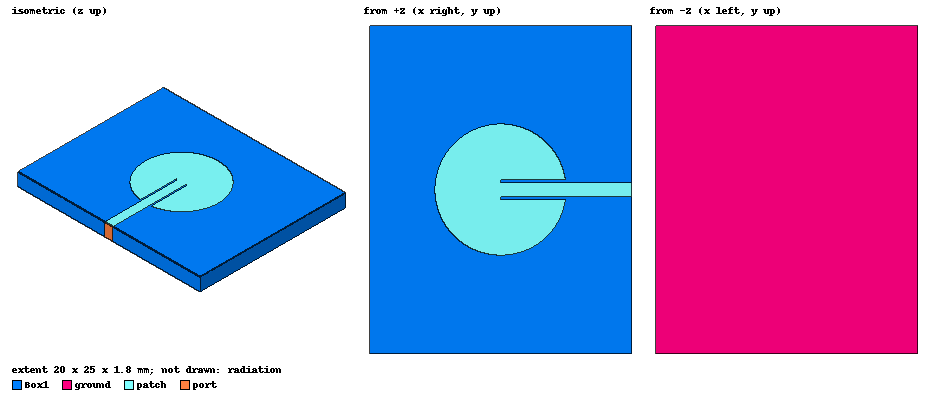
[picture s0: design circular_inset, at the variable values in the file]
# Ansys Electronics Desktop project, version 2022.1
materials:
  vacuum: permittivity=1
  FR4_epoxy: permittivity=4.4 dielectric_loss_tangent=0.02
  air: permittivity=1.0006 permeability=1.0000004

design circular_inset (HFSS, DrivenTerminal, model units mm)
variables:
  box_height = 1.8mm
  rad = 5mm
  cut_en = 1.5mm
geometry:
  ground = rectangle(corner=(-10mm, -12.5mm, 0mm), x_size=20mm, y_size=25mm)
  Box1 [FR4_epoxy] = box(corner=(-10mm, -12.5mm, 0mm), size=(20mm, 25mm, box_height))
  patch = circle(normal=Z, centre=(0mm, 0mm, box_height), radius=rad)
  cut = rectangle(corner=(0mm, 0.75mm, 1.8mm), x_size=rad, y_size=-cut_en)
  feed = rectangle(corner=(0mm, -3*cut_en/8, 1.8mm), x_size=10mm, y_size=3*cut_en/4)
  patch.subtract(cut)
  patch.unite(feed)
  port = rectangle(corner=(10mm, -3*cut_en/8, 0), y_size=3*cut_en/4, z_size=1.8mm)
  radiation [vacuum] = box(corner=(-16mm, -16mm, -1mm), size=(28mm, 30mm, 4mm))
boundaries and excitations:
  PerfE1: Perfect E Objects=ground
  PerfE2: Perfect E Objects=patch
  Rad1: Radiation Objects=radiation
  1: Lumped Port Objects=port Impedance=50ohm
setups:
  Setup1: HfssDrivenAuto AutoSolverSetting=Balanced Type=Discrete
    sweep Sweep: 1.4GHz to 4.4GHz step 1GHz;
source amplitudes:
  1:1: 1 0
